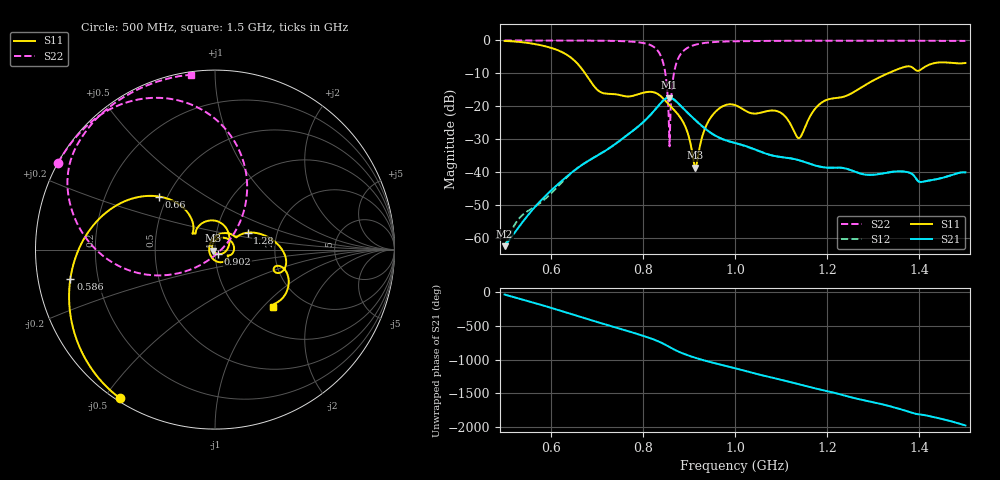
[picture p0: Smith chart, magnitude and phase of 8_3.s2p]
! TOUCHSTONE file generated by CST MICROWAVE STUDIO
! Date and time: Fri Oct  2 16:39:58 2020
! Project name: Scenario_1_Free_Space_out_of_line.cst
! Parameters = {Lambda=346.42; Step_1=17.321; dy1=226.253; dx1=520; L_HA=400; MT=2.54; Rad_Dielectric=30; Rad_Lower=7.3; Rad_Upper=30; a_HA=580; a_WG=246; b_HA=500; b_WG=121; c_HA=0; c_WG=187; d_feed=85; h_feed=15; h_lower=18; h_upper=40}
! Header version: 2018
! Port assignment regex: !\s*Touchstone port\s*([0-9]+)\s*=\s*(CST MWS port|CST DS port)\s*([0-9]+|Zmin|Zmax)\s*\(\"(.*)\"\)(\s*mode\s*([0-9]+))?.*
! Touchstone port assignment:
! Touchstone port 1 = CST MWS port 1 ("")
! Touchstone port 2 = CST MWS port 2 ("")
# GHz S DB R 50
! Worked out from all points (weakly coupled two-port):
!   1003 points, 500 MHz to 1.5 GHz, reference 50 ohm
!   highest |S21| = -17.39 dB at 857 MHz (marker M1); lowest = -62.6 dB at 500 MHz (marker M2)
!   lowest |S11| = -38.7 dB at 914 MHz (marker M3), VSWR 1.02, Z = 49 - j0.609 ohm
!   |S11| at or under -10 dB: 674.6 MHz to 1.332 GHz (657.5 MHz wide, 65.5 % of centre)
!   |S22| runs from -32.2 to 0.0 dB; largest |S21 - S12| = 0.00061
!   S11 on the Smith chart (normalised r, x): 500 MHz: 0.01, -0.55; 586 MHz: 0.10, -0.10; 660 MHz: 0.45, +0.33; 902 MHz: 1.03, -0.05; 1.28 GHz: 1.41, +0.28; 1.5 GHz: 1.42, -1.14
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0.5  -0.15 -122.6  -62.62 -33.1  -62.62 -33.0  -0.01 151.1
0.533  -0.46 -138.7  -56.38 -95.1  -53.92 -83.7  -0.01 148.9
0.586  -1.70 -168.6  -47.68 160.1  -48.47 160.2  -0.02 145.2
0.66  -7.35 136.4  -38.67 5.0  -38.65 5.1  -0.04 139.0
0.667  -8.54 131.9  -37.98 -10.1  -37.95 -10.1  -0.05 138.3
0.708  -15.71 137.1  -34.50 -95.2  -34.45 -94.7  -0.08 133.8
0.779  -16.84 138.4  -27.41 120.8  -27.41 120.8  -0.40 120.6
0.834  -16.44 76.2  -19.82 -8.9  -19.82 -8.8  -3.44 84.9
0.847  -18.07 55.0  -17.95 -51.8  -17.95 -51.8  -8.55 61.4
0.857  -19.57 40.4  -17.39 -89.4  -17.41 -89.4  -28.08 6.3
0.874  -22.14 13.7  -18.76 -149.8  -18.76 -149.8  -6.43 -165.3
0.902  -30.53 -55.7  -22.67 134.9  -22.69 134.9  -1.90 167.1
0.914  -38.68 -147.7  -24.26 107.8  -24.27 107.9  -1.31 160.9
0.947  -23.53 71.3  -28.07 44.0  -28.10 44.0  -0.56 150.0
1  -19.67 -5.8  -31.22 -46.2  -31.19 -46.0  -0.26 140.2
1.097  -21.83 -59.1  -35.44 146.9  -35.42 147.4  -0.12 130.0
1.138  -29.73 -175.4  -36.42 74.8  -36.43 74.8  -0.11 126.5
1.167  -22.15 82.9  -37.77 25.3  -37.74 25.3  -0.09 124.2
1.28  -13.79 27.5  -40.78 -161.6  -40.73 -161.6  -0.08 115.6
1.334  -9.89 10.4  -40.14 113.5  -40.10 113.4  -0.09 111.5
1.404  -8.81 -14.4  -43.08 -13.9  -43.12 -13.6  -0.10 106.0
1.5  -6.87 -44.5  -40.16 -175.8  -40.20 -175.7  -0.14 98.0
